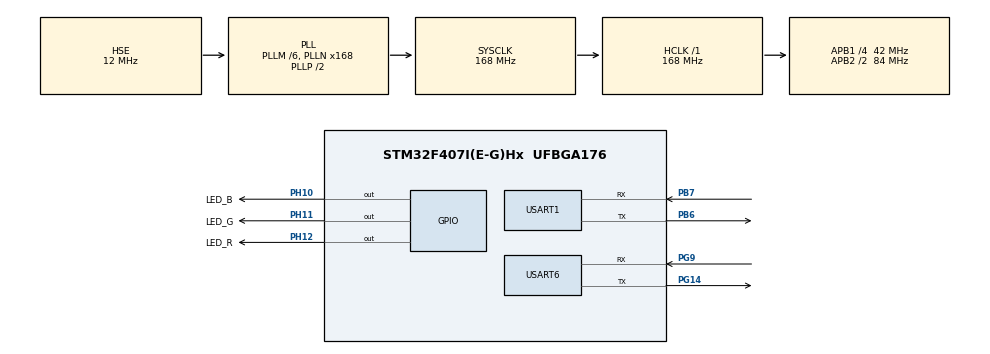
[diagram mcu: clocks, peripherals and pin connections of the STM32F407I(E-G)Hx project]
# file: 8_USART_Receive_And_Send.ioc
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Mcu.Family=STM32F4
Mcu.Name=STM32F407I(E-G)Hx
Mcu.Package=UFBGA176
NVIC.PriorityGroup=NVIC_PRIORITYGROUP_4
NVIC.USART1_IRQn=true\:0\:0\:false\:false\:false\:true\:true\:true
NVIC.USART6_IRQn=true\:0\:0\:false\:false\:false\:true\:true\:true
PA13.Mode=Serial_Wire
PA13.Signal=SYS_JTMS-SWDIO
PA14.Mode=Serial_Wire
PA14.Signal=SYS_JTCK-SWCLK
PB6.GPIO_PuPd=GPIO_PULLUP
PB6.Mode=Asynchronous
PB6.Signal=USART1_TX
PB7.GPIO_PuPd=GPIO_PULLUP
PB7.Mode=Asynchronous
PB7.Signal=USART1_RX
PG14.GPIO_PuPd=GPIO_PULLUP
PG14.Mode=Asynchronous
PG14.Signal=USART6_TX
PG9.GPIO_PuPd=GPIO_PULLUP
PG9.Mode=Asynchronous
PG9.Signal=USART6_RX
PH0-OSC_IN.Mode=HSE-External-Oscillator
PH0-OSC_IN.Signal=RCC_OSC_IN
PH1-OSC_OUT.Mode=HSE-External-Oscillator
PH1-OSC_OUT.Signal=RCC_OSC_OUT
PH10.GPIO_Label=LED_B
PH10.GPIO_ModeDefaultOutputPP=GPIO_MODE_OUTPUT_PP
PH10.GPIO_PuPd=GPIO_PULLUP
PH10.GPIO_Speed=GPIO_SPEED_FREQ_HIGH
PH10.PinState=GPIO_PIN_SET
PH10.Signal=GPIO_Output
PH11.GPIO_Label=LED_G
PH11.GPIO_PuPd=GPIO_PULLUP
PH11.GPIO_Speed=GPIO_SPEED_FREQ_HIGH
PH11.PinState=GPIO_PIN_SET
PH11.Signal=GPIO_Output
PH12.GPIO_Label=LED_R
PH12.GPIO_PuPd=GPIO_PULLUP
PH12.GPIO_Speed=GPIO_SPEED_FREQ_HIGH
PH12.PinState=GPIO_PIN_SET
PH12.Signal=GPIO_Output
ProjectManager.HeapSize=0x200
ProjectManager.StackSize=0x400
ProjectManager.TargetToolchain=MDK-ARM V5.32
RCC.48MHZClocksFreq_Value=84000000
RCC.AHBFreq_Value=168000000
RCC.APB1CLKDivider=RCC_HCLK_DIV4
RCC.APB1Freq_Value=42000000
RCC.APB1TimFreq_Value=84000000
RCC.APB2CLKDivider=RCC_HCLK_DIV2
RCC.APB2Freq_Value=84000000
RCC.APB2TimFreq_Value=168000000
RCC.CortexFreq_Value=168000000
RCC.HCLKFreq_Value=168000000
RCC.HSE_VALUE=12000000
RCC.HSI_VALUE=16000000
RCC.LSE_VALUE=32768
RCC.PLLM=6
RCC.PLLN=168
RCC.PLLSourceVirtual=RCC_PLLSOURCE_HSE
RCC.SYSCLKFreq_VALUE=168000000
RCC.SYSCLKSource=RCC_SYSCLKSOURCE_PLLCLK
RCC.VCOOutputFreq_Value=336000000
USART1.VirtualMode=VM_ASYNC
USART6.VirtualMode=VM_ASYNC
board=custom

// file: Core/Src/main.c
/* USER CODE BEGIN Header */
/**
  ******************************************************************************
  * @file           : main.c
  * @brief          : Main program body
  ******************************************************************************
  * @attention
  *
  * <h2><center>&copy; Copyright (c) 2019 STMicroelectronics.
  * All rights reserved.</center></h2>
  *
  * This software component is licensed by ST under BSD 3-Clause license,
  * the "License"; You may not use this file except in compliance with the
  * License. You may obtain a copy of the License at:
  *                        opensource.org/licenses/BSD-3-Clause
  *
  ******************************************************************************
  */
/* USER CODE END Header */

#include "main.h"
#include "usart.h"
#include "gpio.h"

void SystemClock_Config(void);

/* USER CODE BEGIN 0 */

void USART1_IRQHandler(void)
{
    volatile uint8_t receive;
    //receive interrupt �����ж�
    if(huart1.Instance->SR & UART_FLAG_RXNE)
    {
        receive = huart1.Instance->DR;
        HAL_GPIO_TogglePin(LED_R_GPIO_Port, LED_R_Pin);

    }
    //idle interrupt �����ж�
    else if(huart1.Instance->SR & UART_FLAG_IDLE)
    {
        receive = huart1.Instance->DR;
        HAL_GPIO_WritePin(LED_R_GPIO_Port, LED_R_Pin, GPIO_PIN_RESET);
    }

}

void USART6_IRQHandler(void)
{

    volatile uint8_t receive;
    //receive interrupt �����ж�
    if(huart6.Instance->SR & UART_FLAG_RXNE)
    {
        receive = huart6.Instance->DR;
        HAL_GPIO_TogglePin(LED_G_GPIO_Port, LED_G_Pin);

    }
    //idle interrupt �����ж�
    else if(huart6.Instance->SR & UART_FLAG_IDLE)
    {
        receive = huart6.Instance->DR;
        HAL_GPIO_WritePin(LED_G_GPIO_Port, LED_G_Pin, GPIO_PIN_RESET);
    }

}

/* USER CODE END 0 */

int main(void)
{

  /* MCU Configuration--------------------------------------------------------*/

  /* Reset of all peripherals, Initializes the Flash interface and the Systick. */
  HAL_Init();

  /* Configure the system clock */
  SystemClock_Config();

  /* Initialize all configured peripherals */
  MX_GPIO_Init();
  MX_USART1_UART_Init();
  MX_USART6_UART_Init();
  /* USER CODE BEGIN 2 */

    HAL_GPIO_WritePin(LED_R_GPIO_Port, LED_R_Pin, GPIO_PIN_RESET);
    HAL_GPIO_WritePin(LED_G_GPIO_Port, LED_G_Pin, GPIO_PIN_RESET);
    HAL_GPIO_WritePin(LED_B_GPIO_Port, LED_B_Pin, GPIO_PIN_RESET);
    //enable receive interrupt and idle interrupt
    //ʹ�ܽ����жϺͿ����ж�
    __HAL_UART_ENABLE_IT(&huart1, UART_IT_RXNE);  //receive interrupt
    __HAL_UART_ENABLE_IT(&huart1, UART_IT_IDLE);  //idle interrupt
    __HAL_UART_ENABLE_IT(&huart6, UART_IT_RXNE);  //receive interrupt
    __HAL_UART_ENABLE_IT(&huart6, UART_IT_IDLE);  //idle interrupt

  /* USER CODE END 2 */

  /* Infinite loop */
  while (1)
  {

    /* USER CODE BEGIN 3 */
        //send data by usart
        //���ڷ�������
        HAL_UART_Transmit(&huart1, "RoboMaster\r\n", 12, 100);
        HAL_Delay(100);
        HAL_UART_Transmit(&huart6, "RoboMaster\r\n", 12, 100);
        HAL_Delay(100);
  }
  /* USER CODE END 3 */
}

void SystemClock_Config(void)
{
  RCC_OscInitTypeDef RCC_OscInitStruct = {0};
  RCC_ClkInitTypeDef RCC_ClkInitStruct = {0};

  /** Configure the main internal regulator output voltage
  */
  __HAL_RCC_PWR_CLK_ENABLE();
  __HAL_PWR_VOLTAGESCALING_CONFIG(PWR_REGULATOR_VOLTAGE_SCALE1);
  /** Initializes the CPU, AHB and APB busses clocks
  */
  RCC_OscInitStruct.OscillatorType = RCC_OSCILLATORTYPE_HSE;
  RCC_OscInitStruct.HSEState = RCC_HSE_ON;
  RCC_OscInitStruct.PLL.PLLState = RCC_PLL_ON;
  RCC_OscInitStruct.PLL.PLLSource = RCC_PLLSOURCE_HSE;
  RCC_OscInitStruct.PLL.PLLM = 6;
  RCC_OscInitStruct.PLL.PLLN = 168;
  RCC_OscInitStruct.PLL.PLLP = RCC_PLLP_DIV2;
  RCC_OscInitStruct.PLL.PLLQ = 4;
  if (HAL_RCC_OscConfig(&RCC_OscInitStruct) != HAL_OK)
  {
    Error_Handler();
  }
  /** Initializes the CPU, AHB and APB busses clocks
  */
  RCC_ClkInitStruct.ClockType = RCC_CLOCKTYPE_HCLK|RCC_CLOCKTYPE_SYSCLK
                              |RCC_CLOCKTYPE_PCLK1|RCC_CLOCKTYPE_PCLK2;
  RCC_ClkInitStruct.SYSCLKSource = RCC_SYSCLKSOURCE_PLLCLK;
  RCC_ClkInitStruct.AHBCLKDivider = RCC_SYSCLK_DIV1;
  RCC_ClkInitStruct.APB1CLKDivider = RCC_HCLK_DIV4;
  RCC_ClkInitStruct.APB2CLKDivider = RCC_HCLK_DIV2;

  if (HAL_RCC_ClockConfig(&RCC_ClkInitStruct, FLASH_LATENCY_5) != HAL_OK)
  {
    Error_Handler();
  }
}

void Error_Handler(void)
{
}

/************************ (C) COPYRIGHT STMicroelectronics *****END OF FILE****/
